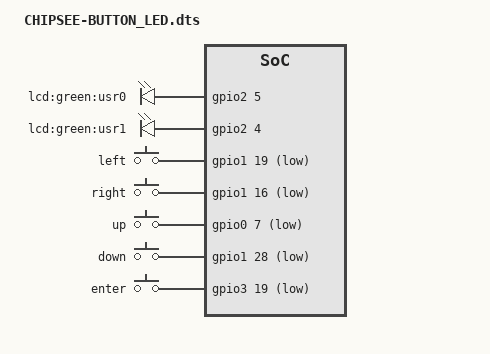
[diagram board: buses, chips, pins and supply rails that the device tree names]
/*
 * Copyright (C) 2012 Texas Instruments Incorporated - http://www.ti.com/
 *
 * This program is free software; you can redistribute it and/or modify
 * it under the terms of the GNU General Public License version 2 as
 * published by the Free Software Foundation.
 */

/dts-v1/;
/plugin/;

#include <dt-bindings/gpio/gpio.h>
#include <dt-bindings/pinctrl/am33xx.h>
#include <dt-bindings/board/am335x-bbw-bbb-base.h>

/ {
	compatible = "ti,beaglebone", "ti,beaglebone-black", "ti,beaglebone-green";

	/* identification */
	part-number = "01";
	version = "00A3";

	/* state the resources this cape uses */
	exclusive-use =
		/* the pin header uses */

		"P8.09",		/* led: gpio2_5 LED */
		"P8.10",	/* led: gpio2_4 LED */
		
		
		
		"P9.42",	/* keys: gpio0_7  SW1 UP */
		"P9.12",	/* keys: gpio1_28 SW2 DOWN */		
		"P9.15",	/* keys: gpio1_16  SW3 RIGHT */
		"P9.16",	/* keys: gpio1_19 SW4 LEFT */
		"P9.27",	/* keys: gpio3_19 SW5 ENTER */


		"gpio2_5",	/* LED0 */
		"gpio2_4",	/* LED1 */
		
		"gpio0_7",	/* UP */
		"gpio1_28",	/* DOWN */
		"gpio1_16",	/* RIGHT */
		"gpio1_19",	/* LEFT */
		"gpio3_19";	/* ENTER */
	

	/*
	 * Free up the pins used by the cape from the pinmux helpers.
	 */
	fragment@0 {
		target = <&ocp>;
		__overlay__ {
		
			
			P8_09_pinmux { status = "disabled"; };	/* fix these names P8_9: gpmc_ben1.gpio1_28, INPUT | PULLDIS | MODE7 */
			P8_10_pinmux { status = "disabled"; };	/* fix these namesP8_10: gpmc_ben1.gpio1_28, INPUT | PULLDIS | MODE7 */


			P9_42_pinmux { status = "disabled"; };	/* fix these names P9_15: gpmc_a0.gpio1_16 */
			P9_12_pinmux { status = "disabled"; };	/* fix these namesP9_23: gpmc_a1.gpio1_17 */
			P9_15_pinmux { status = "disabled"; };	/* fix these namesP9_16: gpmc_a3.gpio1_19 */
			P9_16_pinmux { status = "disabled"; };	/* fix these namesP9_30: mcasp0_axr0.gpio3_16 */
			P9_27_pinmux { status = "disabled"; };	/* fix these namesP9_21: spi0_d0.gpio0_3 */
			
		};
	};

	fragment@1 {
		target = <&am33xx_pinmux>;
		__overlay__ {

			bb_lcd_led_pins: pinmux_bb_lcd_led_pins {
				pinctrl-single,pins = <
					BONE_P8_09 (PIN_INPUT | MUX_MODE7)	/* fix these namesP9_12: gpmc_ben1.gpio1_28, INPUT | PULLDIS | MODE7 */
					BONE_P8_10 (PIN_INPUT | MUX_MODE7)	/* fix these namesP9_12: gpmc_ben1.gpio1_28, INPUT | PULLDIS | MODE7 */
				>;
			};



			bb_lcd_keymap_pins: pinmux_bb_lcd_keymap_pins {
				pinctrl-single,pins = <
					BONE_P9_42 (PIN_INPUT | MUX_MODE7)	/* fix these namesP9_15: gpmc_a0.gpio1_16 */
					BONE_P9_12 (PIN_INPUT | MUX_MODE7)	/* fix these namesP9_23: gpmc_a1.gpio1_17 */
					BONE_P9_15 (PIN_INPUT | MUX_MODE7)	/* fix these namesP9_16: gpmc_a3.gpio1_19 */
					BONE_P9_16 (PIN_INPUT | MUX_MODE7)	/* fix these namesP9_30: mcasp0_axr0.gpio3_16 */
					BONE_P9_27 (PIN_INPUT | MUX_MODE7)	/* fix these namesP9_21: spi0_d0.gpio0_3 */
				>;
			};
		};
	};





	fragment@2 {
		target-path="/";
		__overlay__ {
			gpio-leds-cape-lcd {
				compatible = "gpio-leds";
				pinctrl-names = "default";
				pinctrl-0 = <&bb_lcd_led_pins>;

				lcd-led0 {
					label = "lcd:green:usr0";
					gpios = <&gpio2 5 0>;
					linux,default-trigger = "heartbeat";
					default-state = "off";
				};
				
				lcd-led1 {
					label = "lcd:green:usr1";
					gpios = <&gpio2 4 0>;
					linux,default-trigger = "mmc0";
					default-state = "off";
				};
			};

			
			
			
			
			
			gpio_keys {
				compatible = "gpio-keys";
				pinctrl-names = "default";
				pinctrl-0 = <&bb_lcd_keymap_pins>;

				button@1 {
					debounce_interval = <50>;
					linux,code = <105>;
					label = "left";
					gpios = <&gpio1 19 0x1>;
					gpio-key,wakeup;
					autorepeat;
				};

				button@2 {
					debounce_interval = <50>;
					linux,code = <106>;
					label = "right";
					gpios = <&gpio1 16 0x1>;
					gpio-key,wakeup;
					autorepeat;
				};

				button@3 {
					debounce_interval = <50>;
					linux,code = <103>;
					label = "up";
					gpios = <&gpio0 7 0x1>;
					gpio-key,wakeup;
					autorepeat;
				};

				button@4 {
					debounce_interval = <50>;
					linux,code = <108>;
					label = "down";
					gpios = <&gpio1 28 0x1>;
					gpio-key,wakeup;
					autorepeat;
				};

				button@5 {
					debounce_interval = <50>;
					linux,code = <28>;
					label = "enter";
					gpios = <&gpio3 19 0x1>;
					gpio-key,wakeup;
				};
			};


		};
	};
};
